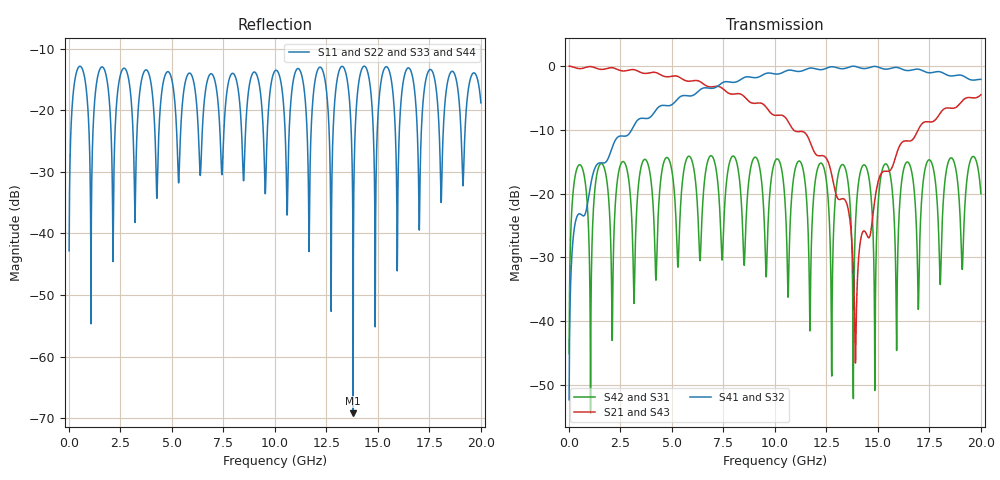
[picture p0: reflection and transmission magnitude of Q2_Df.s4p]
! Touchstone generated by fitter/viewer
# HZ S  RI R 5.000000e+001
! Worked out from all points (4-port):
!   2000 points, 10 MHz to 20 GHz, reference 50 ohm
!   strongest paths, dB at 10 MHz, 5.01 GHz, 10.01 GHz, 15.01 GHz, 20 GHz:
!     S41: -52.3, -6.0, -1.2, -0.1, -2.1
!     S32: -52.3, -6.0, -1.2, -0.1, -2.1
!     S21: 0.0, -1.6, -7.7, -18.1, -4.5
!     S43: 0.0, -1.6, -7.7, -18.1, -4.5
!     S42: -45.1, -16.6, -14.9, -21.7, -20.0
!     S31: -45.1, -16.6, -14.9, -21.7, -20.0
!   lowest |S11| = -69.2 dB at 13.8 GHz (marker M1), VSWR 1.00, Z = 50 - j0.0337 ohm
!   |S11| at or under -10 dB: start of sweep to end of sweep
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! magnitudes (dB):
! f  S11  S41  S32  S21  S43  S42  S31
! 10 MHz  -42.8  -52.3  -52.3  0.0  0.0  -45.1  -45.1
! 430 MHz  -13.2  -23.3  -23.3  -0.4  -0.4  -15.7  -15.7
! 2.35 GHz  -17.5  -11.2  -11.2  -0.5  -0.5  -18.0  -18.0
! 12.73 GHz  -52.6  -0.1  -0.1  -16.6  -16.6  -36.7  -36.7
! 13.28 GHz  -12.8  -0.4  -0.4  -20.8  -20.8  -15.4  -15.4
! 13.8 GHz  -69.2  0.0  0.0  -31.3  -31.3  -50.2  -50.2
! 20 GHz  -18.8  -2.1  -2.1  -4.5  -4.5  -20.0  -20.0
